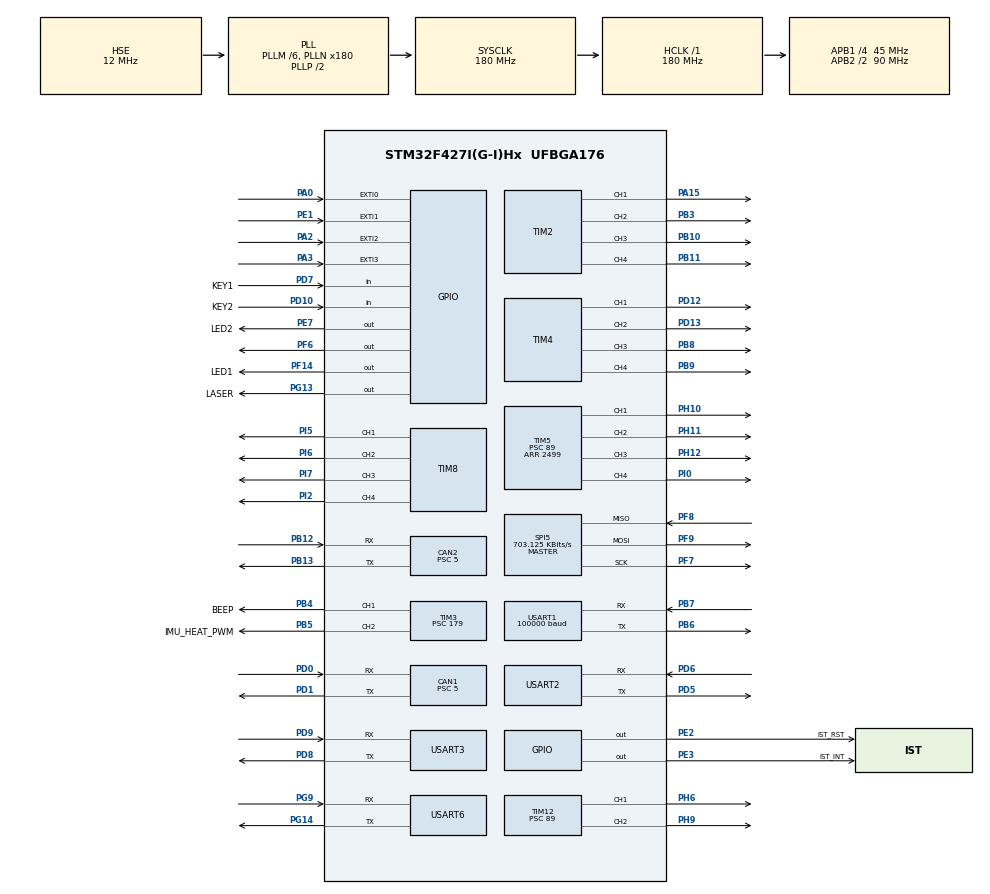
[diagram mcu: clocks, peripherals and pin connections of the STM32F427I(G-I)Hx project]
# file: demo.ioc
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CAN1.ABOM=ENABLE
CAN1.BS1=CAN_BS1_3TQ
CAN1.BS2=CAN_BS2_5TQ
CAN1.CalculateTimeBit=1000
CAN1.CalculateTimeQuantum=111.11111111111111
CAN1.Prescaler=5
CAN1.SJW=CAN_SJW_1TQ
CAN2.ABOM=ENABLE
CAN2.BS1=CAN_BS1_3TQ
CAN2.BS2=CAN_BS2_5TQ
CAN2.CalculateTimeBit=1000
CAN2.CalculateTimeQuantum=111.11111111111111
CAN2.Prescaler=5
CAN2.SJW=CAN_SJW_4TQ
Dma.Request0=USART1_RX
Dma.Request1=USART2_RX
Dma.Request2=USART3_RX
Dma.Request3=USART6_RX
Dma.USART1_RX.0.Direction=DMA_PERIPH_TO_MEMORY
Dma.USART1_RX.0.FIFOMode=DMA_FIFOMODE_DISABLE
Dma.USART1_RX.0.Instance=DMA2_Stream2
Dma.USART1_RX.0.MemDataAlignment=DMA_MDATAALIGN_BYTE
Dma.USART1_RX.0.MemInc=DMA_MINC_ENABLE
Dma.USART1_RX.0.Mode=DMA_NORMAL
Dma.USART1_RX.0.PeriphDataAlignment=DMA_PDATAALIGN_BYTE
Dma.USART1_RX.0.PeriphInc=DMA_PINC_DISABLE
Dma.USART1_RX.0.Priority=DMA_PRIORITY_LOW
Dma.USART2_RX.1.Direction=DMA_PERIPH_TO_MEMORY
Dma.USART2_RX.1.FIFOMode=DMA_FIFOMODE_DISABLE
Dma.USART2_RX.1.Instance=DMA1_Stream5
Dma.USART2_RX.1.MemDataAlignment=DMA_MDATAALIGN_BYTE
Dma.USART2_RX.1.MemInc=DMA_MINC_ENABLE
Dma.USART2_RX.1.Mode=DMA_NORMAL
Dma.USART2_RX.1.PeriphDataAlignment=DMA_PDATAALIGN_BYTE
Dma.USART2_RX.1.PeriphInc=DMA_PINC_DISABLE
Dma.USART2_RX.1.Priority=DMA_PRIORITY_LOW
Dma.USART3_RX.2.Direction=DMA_PERIPH_TO_MEMORY
Dma.USART3_RX.2.FIFOMode=DMA_FIFOMODE_DISABLE
Dma.USART3_RX.2.Instance=DMA1_Stream1
Dma.USART3_RX.2.MemDataAlignment=DMA_MDATAALIGN_BYTE
Dma.USART3_RX.2.MemInc=DMA_MINC_ENABLE
Dma.USART3_RX.2.Mode=DMA_NORMAL
Dma.USART3_RX.2.PeriphDataAlignment=DMA_PDATAALIGN_BYTE
Dma.USART3_RX.2.PeriphInc=DMA_PINC_DISABLE
Dma.USART3_RX.2.Priority=DMA_PRIORITY_LOW
Dma.USART6_RX.3.Direction=DMA_PERIPH_TO_MEMORY
Dma.USART6_RX.3.FIFOMode=DMA_FIFOMODE_DISABLE
Dma.USART6_RX.3.Instance=DMA2_Stream1
Dma.USART6_RX.3.MemDataAlignment=DMA_MDATAALIGN_BYTE
Dma.USART6_RX.3.MemInc=DMA_MINC_ENABLE
Dma.USART6_RX.3.Mode=DMA_NORMAL
Dma.USART6_RX.3.PeriphDataAlignment=DMA_PDATAALIGN_BYTE
Dma.USART6_RX.3.PeriphInc=DMA_PINC_DISABLE
Dma.USART6_RX.3.Priority=DMA_PRIORITY_LOW
FREERTOS.Tasks01=defaultTask,0,128,StartDefaultTask,Default
Mcu.Family=STM32F4
Mcu.Name=STM32F427I(G-I)Hx
Mcu.Package=UFBGA176
NVIC.CAN1_RX0_IRQn=true\:5\:0\:false\:false\:true\:true
NVIC.CAN1_TX_IRQn=true\:5\:0\:false\:false\:true\:true
NVIC.CAN2_RX0_IRQn=true\:0\:0\:false\:false\:true\:false
NVIC.CAN2_TX_IRQn=true\:0\:0\:false\:false\:true\:false
NVIC.DMA1_Stream1_IRQn=true\:5\:0\:false\:false\:true\:true
NVIC.DMA1_Stream5_IRQn=true\:5\:0\:false\:false\:true\:true
NVIC.DMA2_Stream1_IRQn=true\:5\:0\:false\:false\:true\:true
NVIC.DMA2_Stream2_IRQn=true\:5\:0\:false\:false\:true\:true
NVIC.PriorityGroup=NVIC_PRIORITYGROUP_4
NVIC.TIM6_DAC_IRQn=true\:0\:0\:false\:false\:true\:false
NVIC.TimeBase=TIM6_DAC_IRQn
NVIC.TimeBaseIP=TIM6
NVIC.USART1_IRQn=true\:5\:0\:false\:false\:true\:true
NVIC.USART2_IRQn=true\:0\:0\:false\:false\:true\:false
NVIC.USART3_IRQn=true\:0\:0\:false\:false\:true\:false
NVIC.USART6_IRQn=true\:5\:0\:false\:false\:true\:true
PA0/WKUP.Signal=GPXTI0
PA13.Mode=Serial_Wire
PA13.Signal=SYS_JTMS-SWDIO
PA14.Mode=Serial_Wire
PA14.Signal=SYS_JTCK-SWCLK
PA15.Signal=S_TIM2_CH1_ETR
PA2.Signal=GPXTI2
PA3.Signal=GPXTI3
PB10.Signal=S_TIM2_CH3
PB11.Signal=S_TIM2_CH4
PB12.Mode=Slave
PB12.Signal=CAN2_RX
PB13.Mode=Slave
PB13.Signal=CAN2_TX
PB3.Signal=S_TIM2_CH2
PB4.GPIO_Label=BEEP
PB4.Signal=S_TIM3_CH1
PB5.GPIO_Label=IMU_HEAT_PWM
PB5.Signal=S_TIM3_CH2
PB6.Mode=Asynchronous
PB6.Signal=USART1_TX
PB7.Mode=Asynchronous
PB7.Signal=USART1_RX
PB8.Signal=S_TIM4_CH3
PB9.Signal=S_TIM4_CH4
PD0.Mode=Master
PD0.Signal=CAN1_RX
PD1.Mode=Master
PD1.Signal=CAN1_TX
PD10.GPIO_Label=KEY2
PD10.Signal=GPIO_Input
PD12.Signal=S_TIM4_CH1
PD13.Signal=S_TIM4_CH2
PD5.Mode=Asynchronous
PD5.Signal=USART2_TX
PD6.Mode=Asynchronous
PD6.Signal=USART2_RX
PD7.GPIO_Label=KEY1
PD7.Signal=GPIO_Input
PD8.Mode=Asynchronous
PD8.Signal=USART3_TX
PD9.Mode=Asynchronous
PD9.Signal=USART3_RX
PE1.GPIO_ModeDefaultEXTI=GPIO_MODE_IT_FALLING
PE1.GPIO_PuPd=GPIO_PULLUP
PE1.Signal=GPXTI1
PE2.GPIO_Label=IST_RST
PE2.PinState=GPIO_PIN_SET
PE2.Signal=GPIO_Output
PE3.GPIO_Label=IST_INT
PE3.Signal=GPIO_Output
PE7.GPIO_Label=LED2
PE7.Signal=GPIO_Output
PF14.GPIO_Label=LED1
PF14.Signal=GPIO_Output
PF6.Signal=GPIO_Output
PF7.Mode=Full_Duplex_Master
PF7.Signal=SPI5_SCK
PF8.Mode=Full_Duplex_Master
PF8.Signal=SPI5_MISO
PF9.Mode=Full_Duplex_Master
PF9.Signal=SPI5_MOSI
PG13.GPIO_Label=LASER
PG13.Signal=GPIO_Output
PG14.Mode=Asynchronous
PG14.Signal=USART6_TX
PG9.Mode=Asynchronous
PG9.Signal=USART6_RX
PH0/OSC_IN.Mode=HSE-External-Oscillator
PH0/OSC_IN.Signal=RCC_OSC_IN
PH1/OSC_OUT.Mode=HSE-External-Oscillator
PH1/OSC_OUT.Signal=RCC_OSC_OUT
PH10.Signal=S_TIM5_CH1
PH11.Signal=S_TIM5_CH2
PH12.Signal=S_TIM5_CH3
PH6.Signal=S_TIM12_CH1
PH9.Signal=S_TIM12_CH2
PI0.Signal=S_TIM5_CH4
PI2.Signal=S_TIM8_CH4
PI5.Signal=S_TIM8_CH1
PI6.Signal=S_TIM8_CH2
PI7.Signal=S_TIM8_CH3
ProjectManager.HeapSize=0x200
ProjectManager.StackSize=0x400
ProjectManager.TargetToolchain=MDK-ARM V5
RCC.48MHZClocksFreq_Value=90000000
RCC.AHBFreq_Value=180000000
RCC.APB1CLKDivider=RCC_HCLK_DIV4
RCC.APB1Freq_Value=45000000
RCC.APB1TimFreq_Value=90000000
RCC.APB2CLKDivider=RCC_HCLK_DIV2
RCC.APB2Freq_Value=90000000
RCC.APB2TimFreq_Value=180000000
RCC.CortexFreq_Value=180000000
RCC.HCLKFreq_Value=180000000
RCC.HSE_VALUE=12000000
RCC.HSI_VALUE=16000000
RCC.LSE_VALUE=32768
RCC.PLLM=6
RCC.PLLN=180
RCC.PLLSourceVirtual=RCC_PLLSOURCE_HSE
RCC.SYSCLKFreq_VALUE=180000000
RCC.SYSCLKSource=RCC_SYSCLKSOURCE_PLLCLK
RCC.VCOOutputFreq_Value=360000000
SH.S_TIM12_CH1.0=TIM12_CH1,PWM Generation1 CH1
SH.S_TIM12_CH2.0=TIM12_CH2,PWM Generation2 CH2
SH.S_TIM2_CH1_ETR.0=TIM2_CH1,PWM Generation1 CH1
SH.S_TIM2_CH2.0=TIM2_CH2,PWM Generation2 CH2
SH.S_TIM2_CH3.0=TIM2_CH3,PWM Generation3 CH3
SH.S_TIM2_CH4.0=TIM2_CH4,PWM Generation4 CH4
SH.S_TIM3_CH1.0=TIM3_CH1,PWM Generation1 CH1
SH.S_TIM3_CH2.0=TIM3_CH2,PWM Generation2 CH2
SH.S_TIM4_CH1.0=TIM4_CH1,PWM Generation1 CH1
SH.S_TIM4_CH2.0=TIM4_CH2,PWM Generation2 CH2
SH.S_TIM4_CH3.0=TIM4_CH3,PWM Generation3 CH3
SH.S_TIM4_CH4.0=TIM4_CH4,PWM Generation4 CH4
SH.S_TIM5_CH1.0=TIM5_CH1,PWM Generation1 CH1
SH.S_TIM5_CH2.0=TIM5_CH2,PWM Generation2 CH2
SH.S_TIM5_CH3.0=TIM5_CH3,PWM Generation3 CH3
SH.S_TIM5_CH4.0=TIM5_CH4,PWM Generation4 CH4
SH.S_TIM8_CH1.0=TIM8_CH1,PWM Generation1 CH1
SH.S_TIM8_CH2.0=TIM8_CH2,PWM Generation2 CH2
SH.S_TIM8_CH3.0=TIM8_CH3,PWM Generation3 CH3
SH.S_TIM8_CH4.0=TIM8_CH4,PWM Generation4 CH4
SPI5.BaudRatePrescaler=SPI_BAUDRATEPRESCALER_128
SPI5.CalculateBaudRate=703.125 KBits/s
SPI5.Mode=SPI_MODE_MASTER
TIM12.Channel-PWM\ Generation2\ CH2=TIM_CHANNEL_2
TIM12.Period=2499
TIM12.Prescaler=89
TIM12.Pulse-PWM\ Generation1\ CH1=1000
TIM12.Pulse-PWM\ Generation2\ CH2=1000
TIM2.Channel-PWM\ Generation2\ CH2=TIM_CHANNEL_2
TIM2.Channel-PWM\ Generation3\ CH3=TIM_CHANNEL_3
TIM2.Channel-PWM\ Generation4\ CH4=TIM_CHANNEL_4
TIM3.Channel-PWM\ Generation2\ CH2=TIM_CHANNEL_2
TIM3.Prescaler=179
TIM4.Channel-PWM\ Generation2\ CH2=TIM_CHANNEL_2
TIM4.Channel-PWM\ Generation3\ CH3=TIM_CHANNEL_3
TIM4.Channel-PWM\ Generation4\ CH4=TIM_CHANNEL_4
TIM5.Channel-PWM\ Generation2\ CH2=TIM_CHANNEL_2
TIM5.Channel-PWM\ Generation3\ CH3=TIM_CHANNEL_3
TIM5.Channel-PWM\ Generation4\ CH4=TIM_CHANNEL_4
TIM5.Period=2499
TIM5.Prescaler=89
TIM5.Pulse-PWM\ Generation1\ CH1=1000
TIM5.Pulse-PWM\ Generation2\ CH2=1000
TIM8.Channel-PWM\ Generation2\ CH2=TIM_CHANNEL_2
TIM8.Channel-PWM\ Generation3\ CH3=TIM_CHANNEL_3
TIM8.Channel-PWM\ Generation4\ CH4=TIM_CHANNEL_4
USART1.BaudRate=100000
USART1.Parity=UART_PARITY_EVEN
VP_FREERTOS_VS_ENABLE.Mode=Enabled
VP_SYS_VS_tim6.Mode=TIM6
board=demo

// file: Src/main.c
/**
  ******************************************************************************
  * File Name          : main.c
  * Description        : Main program body
  ******************************************************************************
  *
  * COPYRIGHT(c) 2017 STMicroelectronics
  *
  * Redistribution and use in source and binary forms, with or without modification,
  * are permitted provided that the following conditions are met:
  *   1. Redistributions of source code must retain the above copyright notice,
  *      this list of conditions and the following disclaimer.
  *   2. Redistributions in binary form must reproduce the above copyright notice,
  *      this list of conditions and the following disclaimer in the documentation
  *      and/or other materials provided with the distribution.
  *   3. Neither the name of STMicroelectronics nor the names of its contributors
  *      may be used to endorse or promote products derived from this software
  *      without specific prior written permission.
  *
  * THIS SOFTWARE IS PROVIDED BY THE COPYRIGHT HOLDERS AND CONTRIBUTORS "AS IS"
  * AND ANY EXPRESS OR IMPLIED WARRANTIES, INCLUDING, BUT NOT LIMITED TO, THE
  * IMPLIED WARRANTIES OF MERCHANTABILITY AND FITNESS FOR A PARTICULAR PURPOSE ARE
  * DISCLAIMED. IN NO EVENT SHALL THE COPYRIGHT HOLDER OR CONTRIBUTORS BE LIABLE
  * FOR ANY DIRECT, INDIRECT, INCIDENTAL, SPECIAL, EXEMPLARY, OR CONSEQUENTIAL
  * DAMAGES (INCLUDING, BUT NOT LIMITED TO, PROCUREMENT OF SUBSTITUTE GOODS OR
  * SERVICES; LOSS OF USE, DATA, OR PROFITS; OR BUSINESS INTERRUPTION) HOWEVER
  * CAUSED AND ON ANY THEORY OF LIABILITY, WHETHER IN CONTRACT, STRICT LIABILITY,
  * OR TORT (INCLUDING NEGLIGENCE OR OTHERWISE) ARISING IN ANY WAY OUT OF THE USE
  * OF THIS SOFTWARE, EVEN IF ADVISED OF THE POSSIBILITY OF SUCH DAMAGE.
  *
  ******************************************************************************
  */
#include "stm32f4xx_hal.h"
#include "cmsis_os.h"
#include "can.h"
#include "dma.h"
#include "spi.h"
#include "tim.h"
#include "usart.h"
#include "gpio.h"

/* USER CODE BEGIN PV */
/* Private variables ---------------------------------------------------------*/

/* USER CODE END PV */

void SystemClock_Config(void);
void Error_Handler(void);
void MX_FREERTOS_Init(void);

/* USER CODE BEGIN PFP */
/* Private function prototypes -----------------------------------------------*/

/* USER CODE END PFP */

int main(void)
{

  /* MCU Configuration----------------------------------------------------------*/

  /* Reset of all peripherals, Initializes the Flash interface and the Systick. */
  HAL_Init();

  /* Configure the system clock */
  SystemClock_Config();

  /* Initialize all configured peripherals */
  MX_GPIO_Init();
  MX_DMA_Init();
  MX_CAN1_Init();
  MX_USART1_UART_Init();
  MX_SPI5_Init();
  MX_USART3_UART_Init();
  MX_USART6_UART_Init();
  MX_CAN2_Init();
  MX_TIM5_Init();
  MX_TIM2_Init();
  MX_TIM3_Init();
  MX_TIM4_Init();
  MX_TIM8_Init();
  MX_TIM12_Init();
  MX_USART2_UART_Init();

  /* Call init function for freertos objects (in freertos.c) */
  MX_FREERTOS_Init();

  /* Start scheduler */
  osKernelStart();

  /* We should never get here as control is now taken by the scheduler */

  /* Infinite loop */
  while (1)
  {

  }

}

/** System Clock Configuration
*/
void SystemClock_Config(void)
{

  RCC_OscInitTypeDef RCC_OscInitStruct;
  RCC_ClkInitTypeDef RCC_ClkInitStruct;

  __HAL_RCC_PWR_CLK_ENABLE();

  __HAL_PWR_VOLTAGESCALING_CONFIG(PWR_REGULATOR_VOLTAGE_SCALE1);

  RCC_OscInitStruct.OscillatorType = RCC_OSCILLATORTYPE_HSE;
  RCC_OscInitStruct.HSEState = RCC_HSE_ON;
  RCC_OscInitStruct.PLL.PLLState = RCC_PLL_ON;
  RCC_OscInitStruct.PLL.PLLSource = RCC_PLLSOURCE_HSE;
  RCC_OscInitStruct.PLL.PLLM = 6;
  RCC_OscInitStruct.PLL.PLLN = 180;
  RCC_OscInitStruct.PLL.PLLP = RCC_PLLP_DIV2;
  RCC_OscInitStruct.PLL.PLLQ = 4;
  if (HAL_RCC_OscConfig(&RCC_OscInitStruct) != HAL_OK)
  {
    Error_Handler();
  }

  if (HAL_PWREx_EnableOverDrive() != HAL_OK)
  {
    Error_Handler();
  }

  RCC_ClkInitStruct.ClockType = RCC_CLOCKTYPE_HCLK|RCC_CLOCKTYPE_SYSCLK
                              |RCC_CLOCKTYPE_PCLK1|RCC_CLOCKTYPE_PCLK2;
  RCC_ClkInitStruct.SYSCLKSource = RCC_SYSCLKSOURCE_PLLCLK;
  RCC_ClkInitStruct.AHBCLKDivider = RCC_SYSCLK_DIV1;
  RCC_ClkInitStruct.APB1CLKDivider = RCC_HCLK_DIV4;
  RCC_ClkInitStruct.APB2CLKDivider = RCC_HCLK_DIV2;
  if (HAL_RCC_ClockConfig(&RCC_ClkInitStruct, FLASH_LATENCY_5) != HAL_OK)
  {
    Error_Handler();
  }

  HAL_SYSTICK_Config(HAL_RCC_GetHCLKFreq()/1000);

  HAL_SYSTICK_CLKSourceConfig(SYSTICK_CLKSOURCE_HCLK);

  /* SysTick_IRQn interrupt configuration */
  HAL_NVIC_SetPriority(SysTick_IRQn, 15, 0);
}

void HAL_TIM_PeriodElapsedCallback(TIM_HandleTypeDef *htim)
{
  if (htim->Instance == TIM6) {
    HAL_IncTick();
  }
}

void Error_Handler(void)
{
  while(1)
  {
  }
}

/************************ (C) COPYRIGHT STMicroelectronics *****END OF FILE****/

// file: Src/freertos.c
/**
  ******************************************************************************
  * File Name          : freertos.c
  * Description        : Code for freertos applications
  ******************************************************************************
  *
  * COPYRIGHT(c) 2017 STMicroelectronics
  *
  * Redistribution and use in source and binary forms, with or without modification,
  * are permitted provided that the following conditions are met:
  *   1. Redistributions of source code must retain the above copyright notice,
  *      this list of conditions and the following disclaimer.
  *   2. Redistributions in binary form must reproduce the above copyright notice,
  *      this list of conditions and the following disclaimer in the documentation
  *      and/or other materials provided with the distribution.
  *   3. Neither the name of STMicroelectronics nor the names of its contributors
  *      may be used to endorse or promote products derived from this software
  *      without specific prior written permission.
  *
  * THIS SOFTWARE IS PROVIDED BY THE COPYRIGHT HOLDERS AND CONTRIBUTORS "AS IS"
  * AND ANY EXPRESS OR IMPLIED WARRANTIES, INCLUDING, BUT NOT LIMITED TO, THE
  * IMPLIED WARRANTIES OF MERCHANTABILITY AND FITNESS FOR A PARTICULAR PURPOSE ARE
  * DISCLAIMED. IN NO EVENT SHALL THE COPYRIGHT HOLDER OR CONTRIBUTORS BE LIABLE
  * FOR ANY DIRECT, INDIRECT, INCIDENTAL, SPECIAL, EXEMPLARY, OR CONSEQUENTIAL
  * DAMAGES (INCLUDING, BUT NOT LIMITED TO, PROCUREMENT OF SUBSTITUTE GOODS OR
  * SERVICES; LOSS OF USE, DATA, OR PROFITS; OR BUSINESS INTERRUPTION) HOWEVER
  * CAUSED AND ON ANY THEORY OF LIABILITY, WHETHER IN CONTRACT, STRICT LIABILITY,
  * OR TORT (INCLUDING NEGLIGENCE OR OTHERWISE) ARISING IN ANY WAY OUT OF THE USE
  * OF THIS SOFTWARE, EVEN IF ADVISED OF THE POSSIBILITY OF SUCH DAMAGE.
  *
  ******************************************************************************
  */

#include "FreeRTOS.h"
#include "task.h"
#include "cmsis_os.h"

/* USER CODE BEGIN Includes */
#include "pid.h"
#include "bsp_can.h"
#include "mytype.h"
#include "tim.h"
/* USER CODE END Includes */

osThreadId defaultTaskHandle;

void StartDefaultTask(void const * argument);

void MX_FREERTOS_Init(void); /* (MISRA C 2004 rule 8.1) */

/* Hook prototypes */

/* Init FreeRTOS */

void MX_FREERTOS_Init(void) {

  /* Create the thread(s) */
  /* definition and creation of defaultTask */
  osThreadDef(defaultTask, StartDefaultTask, osPriorityNormal, 0, 128);
  defaultTaskHandle = osThreadCreate(osThread(defaultTask), NULL);

}

#define CAN_CONTROL	//const current control
#define PWM_CONTROL	//const speed control
int set_v,set_spd[4];
/* StartDefaultTask function */
void StartDefaultTask(void const * argument)
{

  /* USER CODE BEGIN StartDefaultTask */
	HAL_TIM_PWM_Start(&htim5, TIM_CHANNEL_1);
	HAL_TIM_PWM_Start(&htim5, TIM_CHANNEL_2);
	HAL_TIM_PWM_Start(&htim5, TIM_CHANNEL_3);
	HAL_TIM_PWM_Start(&htim5, TIM_CHANNEL_4);

	my_can_filter_init_recv_all(&hcan1);
	HAL_CAN_Receive_IT(&hcan1, CAN_FIFO0);
	HAL_CAN_Receive_IT(&hcan2, CAN_FIFO0);
//	PID_struct_init(&pid_omg, POSITION_PID, 20000, 20000,
//									1.5f,	0.1f,	0.0f	);  //angular rate closeloop.
	for(int i=0; i<4; i++)
	{
		PID_struct_init(&pid_spd[i], POSITION_PID, 20000, 20000,
									1.5f,	0.1f,	0.0f	);  //4 motos angular rate closeloop.
	}

	__HAL_TIM_SetCompare(&htim5, TIM_CHANNEL_1, 1000);
	__HAL_TIM_SetCompare(&htim5, TIM_CHANNEL_2, 1000);
	__HAL_TIM_SetCompare(&htim5, TIM_CHANNEL_3, 1000);
	__HAL_TIM_SetCompare(&htim5, TIM_CHANNEL_4, 1000);	//ppm must be 1000 at first time.
	HAL_Delay(100);
  /* Infinite loop */
  for(;;)
  {

		#if defined CAN_CONTROL

			for(int i=0; i<4; i++)
			{
				pid_calc(&pid_spd[i], moto_chassis[i].speed_rpm, set_spd[i]);
			}
			set_moto_current(&hcan1, pid_spd[0].pos_out,
									pid_spd[1].pos_out,
									pid_spd[2].pos_out,
									pid_spd[3].pos_out);

		#elif defined PWM_CONTROL
			__HAL_TIM_SetCompare(&htim5, TIM_CHANNEL_1, 1000+set_spd[0]);//spd range[0,999]
			__HAL_TIM_SetCompare(&htim5, TIM_CHANNEL_2, 1000+set_spd[1]);
			__HAL_TIM_SetCompare(&htim5, TIM_CHANNEL_3, 1000+set_spd[2]);
			__HAL_TIM_SetCompare(&htim5, TIM_CHANNEL_4, 1000+set_spd[3]);
			//TIM5->CCR1 = set_spd[0];
		#endif

	static int key_sta,key_cnt;
	switch(key_sta)
	{
		case 0:	//no key
			if( 0 == HAL_GPIO_ReadPin(KEY2_GPIO_Port, KEY2_Pin) )
			{
				key_sta = 1;
			}
			break;
		case 1: //key down wait release.
			if( 0 == HAL_GPIO_ReadPin(KEY2_GPIO_Port, KEY2_Pin) )
			{
				key_sta = 2;
				key_cnt++;
			}
			else
			{
				key_sta = 0;
			}
			break;
		case 2:
			if( 0 != HAL_GPIO_ReadPin(KEY2_GPIO_Port, KEY2_Pin) )
			{
				key_sta = 0;
			}
			break;
	}
	if(key_cnt>10)
		key_cnt = 0;
#if defined CAN_CONTROL
	set_spd[0] = set_spd[1] = set_spd[2] = set_spd[3] = key_cnt*500;
#elif defined PWM_CONTROL
    set_spd[0] = set_spd[1] = set_spd[2] = set_spd[3] = key_cnt*50;
#endif

	osDelay(10);
  }
  /* USER CODE END StartDefaultTask */
}

/************************ (C) COPYRIGHT STMicroelectronics *****END OF FILE****/
